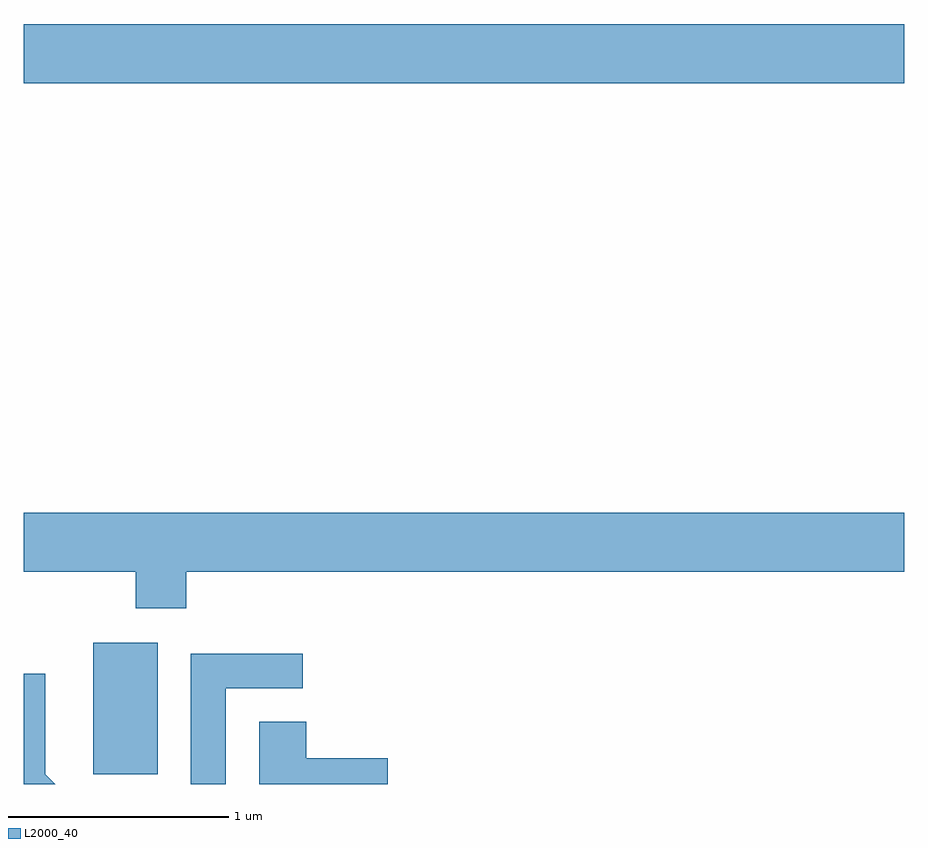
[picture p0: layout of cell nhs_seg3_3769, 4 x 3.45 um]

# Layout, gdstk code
import gdstk
lib = gdstk.Library(unit=1e-6, precision=1e-09)
def R(c, l, rs):  # rectangles x0, y0, x1, y1
    for r in rs: c.add(gdstk.rectangle(r[:2], r[2:], *l))
def P(c, l, *ps):  # polygons
    for p in ps: c.add(gdstk.Polygon(p, *l))
L2000_40 = (2000, 40)

nhs_seg3_3769 = lib.new_cell('nhs_seg3_3769')
R(nhs_seg3_3769, L2000_40, [(295.926,1173.936,296.219,1174.534), (295.611,1177.076,299.611,1177.344)])
P(nhs_seg3_3769, L2000_40, [(296.349,1174.856),(299.611,1174.856),(299.611,1175.124),(295.611,1175.124),(295.611,1174.856),(296.121,1174.856),(296.121,1174.691),(296.349,1174.691)],
  [(296.529,1174.326),(296.878,1174.326),(296.878,1174.484),(296.371,1174.484),(296.371,1173.892),(296.529,1173.892)],
  [(295.709,1173.937),(295.709,1174.393),(295.611,1174.393),(295.611,1173.892),(295.754,1173.892)],
  [(297.264,1174.009),(296.894,1174.009),(296.894,1174.174),(296.681,1174.174),(296.681,1173.892),(297.264,1173.892)])

lib.write_gds('nhs_seg3_3769.gds')
